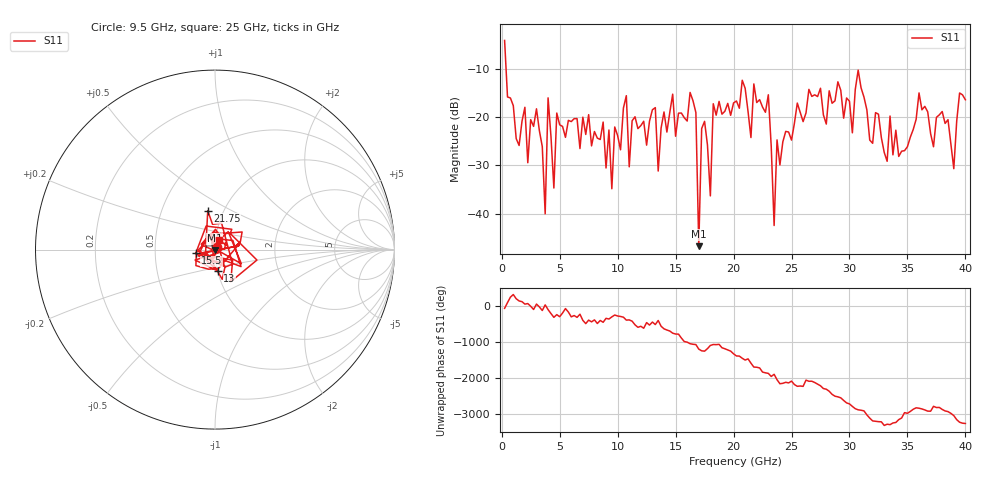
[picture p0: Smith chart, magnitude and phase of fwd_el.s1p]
!Created with skrf (http://scikit-rf.org).
# GHz S RI R 50.0
!freq ReS11 ImS11
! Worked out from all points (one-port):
!   160 points, 250 MHz to 40 GHz, reference 50 ohm
!   lowest |S11| = -46.7 dB at 17 GHz (marker M1), VSWR 1.01, Z = 49.8 - j0.402 ohm
!   |S11| at or under -10 dB: 375.7 MHz to end of sweep
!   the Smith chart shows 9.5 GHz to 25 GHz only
!   S11 on the Smith chart (normalised r, x): 9.5 GHz: 1.02, +0.03; 13 GHz: 1.00, -0.24; 15.5 GHz: 0.80, -0.03; 21.75 GHz: 0.84, +0.38; 25 GHz: 1.04, +0.11
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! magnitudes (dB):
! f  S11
! 250 MHz  -4.1
! 1.5 GHz  -25.9
! 3 GHz  -18.3
! 3.75 GHz  -40.0
! 4 GHz  -16.0
! 4.5 GHz  -34.7
! 5.25 GHz  -21.9
! 9.5 GHz  -34.8
! 10.25 GHz  -26.8
! 13 GHz  -18.5
! 15.25 GHz  -19.2
! 15.5 GHz  -19.2
! 16.75 GHz  -19.0
! 17 GHz  -46.7
! 17.25 GHz  -22.4
! 18 GHz  -36.3
! 18.25 GHz  -17.2
! 20.25 GHz  -16.7
! 21.75 GHz  -13.1
! 23 GHz  -15.4
! 23.5 GHz  -42.5
! 23.75 GHz  -24.7
! 25 GHz  -24.8
! 25.25 GHz  -21.3
! 30.25 GHz  -23.3
! 30.75 GHz  -10.3
! 35.25 GHz  -24.2
! 40 GHz  -16.4
